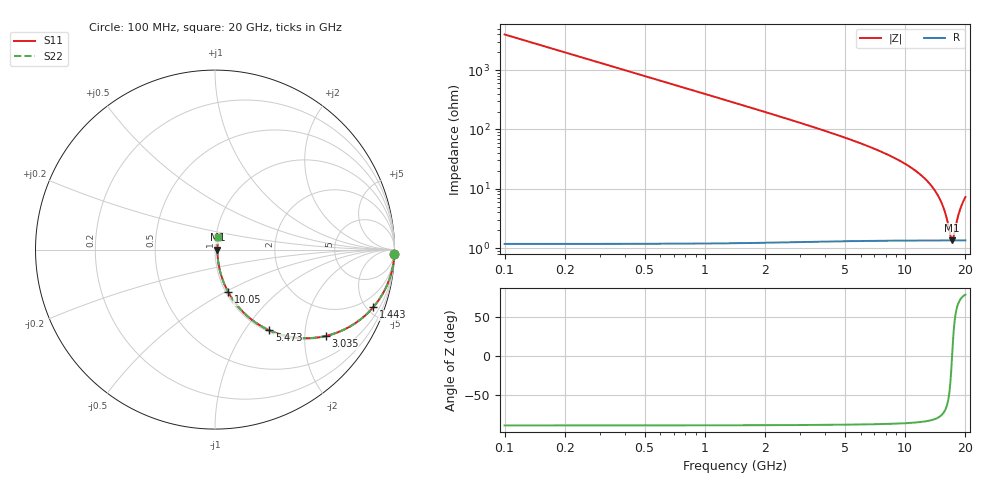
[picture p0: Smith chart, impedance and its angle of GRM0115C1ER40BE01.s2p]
!Murata Part Number: GRM0115C1ER40BE01
!These Parameters are Measured in Series Mode Connection
!Data Generated on Mar 30, 2021
!  o--ll--o
!Port1  Port2
!  o------o
!Operation Temp=25[degC], DC Bias Voltage=0[V]
!Freq. Start=100[MHz] Stop=20[GHz] 401[Steps]
# Hz S RI R 50
!Freq.(Hz) S11(Real) S11(Imag) S21(Real) S21(Imag) S12(Real) S12(Imag) S22(Real) S22(Imag)
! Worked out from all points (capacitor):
!   401 points, 100 MHz to 20 GHz, reference 50 ohm
!   read as one part in series: C = 400 fF near 199.5 MHz
!   lowest |Z| = 1.34 ohm at 17.16 GHz (marker M1)
!   series resonance near 17.17 GHz, so ESL is about 210 pH
!   S11 on the Smith chart (normalised r, x): 100 MHz: 1, -80; 1.443 GHz: 1.02, -5.47; 3.035 GHz: 1.03, -2.54; 5.473 GHz: 1.03, -1.30; 10.05 GHz: 1.03, -0.52; 20 GHz: 1.03, +0.14
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1e8  0.9994 -0.0251  0.000639 0.0251  0.000639 0.0251  0.9994 -0.0251
2.99e8  0.9943 -0.0747  0.00568 0.0747  0.00568 0.0747  0.9943 -0.0747
5.4775e8  0.9812 -0.1352  0.0188 0.1352  0.0188 0.1352  0.9812 -0.1352
9.4575e8  0.9456 -0.2253  0.0544 0.2253  0.0544 0.2253  0.9456 -0.2253
1.44325e9  0.8811 -0.3214  0.1189 0.3214  0.1189 0.3214  0.8811 -0.3214
2.13975e9  0.7685 -0.4184  0.2315 0.4184  0.2315 0.4184  0.7685 -0.4184
3.03525e9  0.6158 -0.4814  0.3842 0.4814  0.3842 0.4814  0.6158 -0.4814
3.43325e9  0.5522 -0.4916  0.4478 0.4916  0.4478 0.4916  0.5522 -0.4916
5.473e9  0.3023 -0.4493  0.6977 0.4493  0.6977 0.4493  0.3023 -0.4493
6.7665e9  0.2039 -0.3898  0.7961 0.3898  0.7961 0.3898  0.2039 -0.3898
1.005e10  0.0741 -0.2375  0.9259 0.2375  0.9259 0.2375  0.0741 -0.2375
1.338325e10  0.0261 -0.1119  0.9739 0.1119  0.9739 0.1119  0.0261 -0.1119
1.447775e10  0.0192 -0.0767  0.9808 0.0767  0.9808 0.0767  0.0192 -0.0767
1.537325e10  0.0158 -0.0497  0.9842 0.0497  0.9842 0.0497  0.0158 -0.0497
1.606975e10  0.0142 -0.0297  0.9858 0.0297  0.9858 0.0297  0.0142 -0.0297
1.67165e10  0.0134 -0.012  0.9866 0.012  0.9866 0.012  0.0134 -0.012
1.696525e10  0.0133 -0.0053  0.9867 0.0053  0.9867 0.0053  0.0133 -0.0053
1.716425e10  0.0133 -4.32e-05  0.9867 4.32e-05  0.9867 4.32e-05  0.0133 -4.32e-05
1.7413e10  0.0133 0.00644  0.9867 -0.00644  0.9867 -0.00644  0.0133 0.00644
1.805975e10  0.0138 0.0229  0.9862 -0.0229  0.9862 -0.0229  0.0138 0.0229
1.8607e10  0.0146 0.0363  0.9854 -0.0363  0.9854 -0.0363  0.0146 0.0363
2e10  0.0181 0.0688  0.9819 -0.0688  0.9819 -0.0688  0.0181 0.0688
